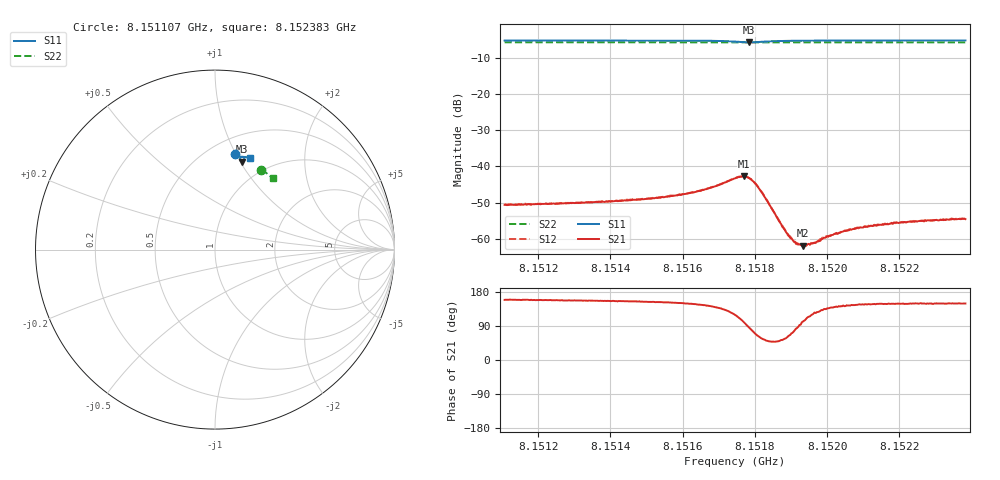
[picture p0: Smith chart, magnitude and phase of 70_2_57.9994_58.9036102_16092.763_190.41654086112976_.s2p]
#  HZ  S  RI  R  50.00
! Rohde & Schwarz Vector Network Analyzer
! Rohde-Schwarz,ZNB20-2Port,1311601062101988,3.16
! Created: UTC 3/21/2024, 12:53:22 AM
! freq[Hz]  re:S11  im:S11  re:S21  im:S21  re:S12  im:S12  re:S22  im:S22
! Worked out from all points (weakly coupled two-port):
!   401 points, 8.151107 GHz to 8.152383 GHz, reference 50 ohm
!   highest |S21| = -42.80 dB at 8.15177 GHz (marker M1); lowest = -61.9 dB at 8.151933 GHz (marker M2)
!   lowest |S11| = -5.8 dB at 8.151783 GHz (marker M3), VSWR 3.10, Z = 38.2 + j50.8 ohm
!   |S11| at or under -10 dB: nowhere
!   |S22| runs from -5.8 to -5.8 dB; largest |S21 - S12| = 0.00015
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8.1511071e9  0.112 0.5314  -0.00274 0.00107  -0.00275 0.00109  0.2585 0.4445
8.1513207e9  0.1276 0.5281  -0.00293 0.00124  -0.00288 0.00125  0.2702 0.4372
8.1515344e9  0.1445 0.5233  -0.00331 0.0017  -0.00328 0.00176  0.2817 0.4294
8.1516013e9  0.1507 0.5208  -0.00356 0.00206  -0.00355 0.00215  0.2854 0.4268
8.1516524e9  0.1561 0.5175  -0.00383 0.00264  -0.00385 0.00273  0.288 0.4248
8.1516938e9  0.1609 0.5128  -0.00405 0.00352  -0.00403 0.00363  0.2903 0.4231
8.1517448e9  0.1632 0.4997  -0.00334 0.00596  -0.00324 0.00605  0.2927 0.4208
8.1517703e9  0.1556 0.4914  -0.00112 0.00715  -0.00102 0.0072  0.2936 0.4197
8.1517831e9  0.1486 0.4907  0.000452 0.0069  0.000529 0.00692  0.2938 0.4194
8.151799e9  0.1414 0.4951  0.00192 0.00562  0.002 0.00564  0.2944 0.4191
8.1518182e9  0.1384 0.5034  0.00241 0.00372  0.00247 0.00374  0.2954 0.4187
8.1518724e9  0.1465 0.5157  0.000967 0.00128  0.00103 0.00125  0.2988 0.4171
8.1518915e9  0.1498 0.517  0.000539 0.00103  0.000536 0.000973  0.2997 0.4163
8.1519106e9  0.1525 0.5177  0.00017 0.000886  0.000184 0.000894  0.3008 0.4156
8.151933e9  0.1555 0.518  -0.000162 0.000785  -0.000127 0.000791  0.302 0.4146
8.1519585e9  0.1586 0.5179  -0.000431 0.000751  -0.000422 0.00075  0.3035 0.4137
8.1519936e9  0.1622 0.5176  -0.000727 0.000733  -0.000703 0.000805  0.3052 0.4123
8.1520573e9  0.1681 0.5166  -0.00105 0.000777  -0.00104 0.000794  0.3085 0.4098
8.152086e9  0.1706 0.5161  -0.00119 0.000791  -0.00113 0.000822  0.3101 0.4087
8.1521721e9  0.1774 0.5143  -0.00137 0.000837  -0.00135 0.000865  0.3144 0.4051
8.1522646e9  0.1843 0.5123  -0.00152 0.000903  -0.00151 0.000947  0.319 0.4013
8.1523826e9  0.1927 0.5097  -0.0016 0.00096  -0.00159 0.00103  0.3249 0.3966
